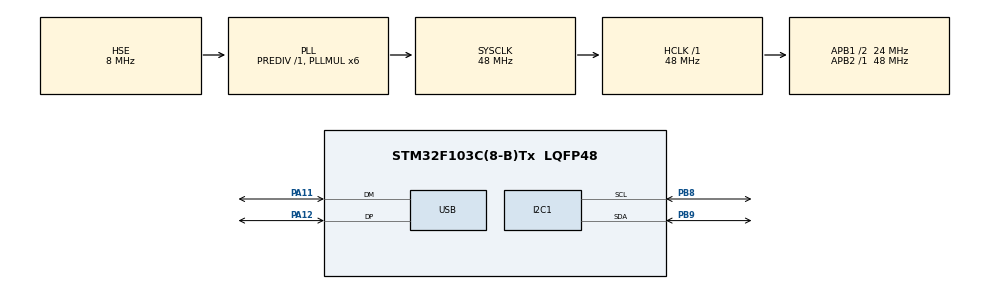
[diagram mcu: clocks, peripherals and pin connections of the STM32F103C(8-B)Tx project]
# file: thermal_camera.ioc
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I2C1.I2C_Mode=I2C_Fast
Mcu.Family=STM32F1
Mcu.Name=STM32F103C(8-B)Tx
Mcu.Package=LQFP48
NVIC.PriorityGroup=NVIC_PRIORITYGROUP_4
NVIC.USB_LP_CAN1_RX0_IRQn=true\:0\:0\:false\:false\:true\:false
PA11.Mode=Device
PA11.Signal=USB_DM
PA12.Mode=Device
PA12.Signal=USB_DP
PA13.Mode=Serial_Wire
PA13.Signal=SYS_JTMS-SWDIO
PA14.Mode=Serial_Wire
PA14.Signal=SYS_JTCK-SWCLK
PB8.Mode=I2C
PB8.Signal=I2C1_SCL
PB9.Mode=I2C
PB9.Signal=I2C1_SDA
PD0-OSC_IN.Mode=HSE-External-Oscillator
PD0-OSC_IN.Signal=RCC_OSC_IN
PD1-OSC_OUT.Mode=HSE-External-Oscillator
PD1-OSC_OUT.Signal=RCC_OSC_OUT
ProjectManager.HeapSize=0x300
ProjectManager.StackSize=0x500
ProjectManager.TargetToolchain=MDK-ARM V5
RCC.AHBFreq_Value=48000000
RCC.APB1CLKDivider=RCC_HCLK_DIV2
RCC.APB1Freq_Value=24000000
RCC.APB1TimFreq_Value=48000000
RCC.APB2Freq_Value=48000000
RCC.APB2TimFreq_Value=48000000
RCC.HCLKFreq_Value=48000000
RCC.PLLMUL=RCC_PLL_MUL6
RCC.SYSCLKFreq_VALUE=48000000
RCC.SYSCLKSource=RCC_SYSCLKSOURCE_PLLCLK
RCC.USBFreq_Value=48000000
USB_DEVICE.APP_RX_DATA_SIZE=512
USB_DEVICE.APP_TX_DATA_SIZE=512
USB_DEVICE.CLASS_NAME_FS=CDC
USB_DEVICE.MANUFACTURER_STRING=Anna's Thermal Camera
USB_DEVICE.PRODUCT_STRING_CDC_FS=Thermal Camera
USB_DEVICE.USBD_MAX_STR_DESC_SIZ=512
USB_DEVICE.VirtualMode=Cdc
USB_DEVICE.VirtualModeFS=Cdc_FS
VP_USB_DEVICE_VS_USB_DEVICE_CDC_FS.Mode=CDC_FS
board=custom

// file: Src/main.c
/**
  ******************************************************************************
  * @file           : main.c
  * @brief          : Main program body
  ******************************************************************************
  * This notice applies to any and all portions of this file
  * that are not between comment pairs USER CODE BEGIN and
  * USER CODE END. Other portions of this file, whether
  * inserted by the user or by software development tools
  * are owned by their respective copyright owners.
  *
  * Copyright (c) 2019 STMicroelectronics International N.V.
  * All rights reserved.
  *
  * Redistribution and use in source and binary forms, with or without
  * modification, are permitted, provided that the following conditions are met:
  *
  * 1. Redistribution of source code must retain the above copyright notice,
  *    this list of conditions and the following disclaimer.
  * 2. Redistributions in binary form must reproduce the above copyright notice,
  *    this list of conditions and the following disclaimer in the documentation
  *    and/or other materials provided with the distribution.
  * 3. Neither the name of STMicroelectronics nor the names of other
  *    contributors to this software may be used to endorse or promote products
  *    derived from this software without specific written permission.
  * 4. This software, including modifications and/or derivative works of this
  *    software, must execute solely and exclusively on microcontroller or
  *    microprocessor devices manufactured by or for STMicroelectronics.
  * 5. Redistribution and use of this software other than as permitted under
  *    this license is void and will automatically terminate your rights under
  *    this license.
  *
  * THIS SOFTWARE IS PROVIDED BY STMICROELECTRONICS AND CONTRIBUTORS "AS IS"
  * AND ANY EXPRESS, IMPLIED OR STATUTORY WARRANTIES, INCLUDING, BUT NOT
  * LIMITED TO, THE IMPLIED WARRANTIES OF MERCHANTABILITY, FITNESS FOR A
  * PARTICULAR PURPOSE AND NON-INFRINGEMENT OF THIRD PARTY INTELLECTUAL PROPERTY
  * RIGHTS ARE DISCLAIMED TO THE FULLEST EXTENT PERMITTED BY LAW. IN NO EVENT
  * SHALL STMICROELECTRONICS OR CONTRIBUTORS BE LIABLE FOR ANY DIRECT, INDIRECT,
  * INCIDENTAL, SPECIAL, EXEMPLARY, OR CONSEQUENTIAL DAMAGES (INCLUDING, BUT NOT
  * LIMITED TO, PROCUREMENT OF SUBSTITUTE GOODS OR SERVICES; LOSS OF USE, DATA,
  * OR PROFITS; OR BUSINESS INTERRUPTION) HOWEVER CAUSED AND ON ANY THEORY OF
  * LIABILITY, WHETHER IN CONTRACT, STRICT LIABILITY, OR TORT (INCLUDING
  * NEGLIGENCE OR OTHERWISE) ARISING IN ANY WAY OUT OF THE USE OF THIS SOFTWARE,
  * EVEN IF ADVISED OF THE POSSIBILITY OF SUCH DAMAGE.
  *
  ******************************************************************************
  */
#include "main.h"
#include "stm32f1xx_hal.h"
#include "usb_device.h"

/* USER CODE BEGIN Includes */
#include "MLX90640_I2C_Driver.h"
#include "MLX90640_API.h"
/* USER CODE END Includes */

/* USER CODE BEGIN PV */
/* Private variables ---------------------------------------------------------*/
#define I2C_ADDR 0x33u*2
#define TA_SHIFT 8
#define EE_WORDS_NUM 832u
#define TO_WORDS_NUM 768u
#define FR_WORDS_NUM 834u

uint16_t eeMLX90640[EE_WORDS_NUM];
uint16_t mlx90640FrameOne[FR_WORDS_NUM];
//uint16_t mlx90640FrameTwo[834];
float mlx90640ToOne[TO_WORDS_NUM];
//float mlx90640ToTwo[768];
paramsMLX90640 parMLX90640;

/* USER CODE END PV */

void SystemClock_Config(void);
static void MX_GPIO_Init(void);
static void MX_I2C1_Init(void);

/* USER CODE BEGIN PFP */
/* Private function prototypes -----------------------------------------------*/

/* USER CODE END PFP */

int main(void)
{

  /* MCU Configuration----------------------------------------------------------*/

  /* Reset of all peripherals, Initializes the Flash interface and the Systick. */
  HAL_Init();

  /* Configure the system clock */
  SystemClock_Config();

  /* Initialize all configured peripherals */
  MX_GPIO_Init();
  MX_I2C1_Init();
  MX_USB_DEVICE_Init();
  /* USER CODE BEGIN 2 */

  #if 0
  volatile int32_t status = 0;
  MLX90640_SetRefreshRate(I2C_ADDR, 0x00);

  status = MLX90640_DumpEE(I2C_ADDR, eeMLX90640);
	//convertBytesToWords(eeMLX90640, EE_WORDS_NUM);

  status = MLX90640_ExtractParameters(eeMLX90640, &parMLX90640);

	for (uint8_t i = 0u; i < 2u; i++){
		status = MLX90640_GetFrameData(I2C_ADDR, mlx90640FrameOne);
		//convertBytesToWords(mlx90640FrameOne, FR_WORDS_NUM);

		volatile float tr = MLX90640_GetTa(mlx90640FrameOne, &parMLX90640) - TA_SHIFT;
		MLX90640_CalculateTo(mlx90640FrameOne, &parMLX90640, 0.95, tr, mlx90640ToOne);
	}
  #endif
  volatile uint16_t databuffer[10u];

  databuffer[0] = MLX90640_I2CReadWord(I2C_ADDR, 0x2407u);
  databuffer[1] = MLX90640_I2CReadWord(I2C_ADDR, 0x2408u);
  databuffer[2] = MLX90640_I2CReadWord(I2C_ADDR, 0x2409u);

  //volatile int ret = I2C_ReadBurst(0x33u, 0x2407, &databuffer[0]);

  //ret = I2C_ReadBurst(0x33u, 0x2408, &databuffer[1]);

  //ret = I2C_ReadBurst(0x33u, 0x2409, &databuffer[2]);

  /* USER CODE END 2 */

  /* Infinite loop */
  while (1)
  {

  }

}

void SystemClock_Config(void)
{

  RCC_OscInitTypeDef RCC_OscInitStruct;
  RCC_ClkInitTypeDef RCC_ClkInitStruct;
  RCC_PeriphCLKInitTypeDef PeriphClkInit;

    /**Initializes the CPU, AHB and APB busses clocks
    */
  RCC_OscInitStruct.OscillatorType = RCC_OSCILLATORTYPE_HSE;
  RCC_OscInitStruct.HSEState = RCC_HSE_ON;
  RCC_OscInitStruct.HSEPredivValue = RCC_HSE_PREDIV_DIV1;
  RCC_OscInitStruct.HSIState = RCC_HSI_ON;
  RCC_OscInitStruct.PLL.PLLState = RCC_PLL_ON;
  RCC_OscInitStruct.PLL.PLLSource = RCC_PLLSOURCE_HSE;
  RCC_OscInitStruct.PLL.PLLMUL = RCC_PLL_MUL6;
  if (HAL_RCC_OscConfig(&RCC_OscInitStruct) != HAL_OK)
  {
    _Error_Handler(__FILE__, __LINE__);
  }

    /**Initializes the CPU, AHB and APB busses clocks
    */
  RCC_ClkInitStruct.ClockType = RCC_CLOCKTYPE_HCLK|RCC_CLOCKTYPE_SYSCLK
                              |RCC_CLOCKTYPE_PCLK1|RCC_CLOCKTYPE_PCLK2;
  RCC_ClkInitStruct.SYSCLKSource = RCC_SYSCLKSOURCE_PLLCLK;
  RCC_ClkInitStruct.AHBCLKDivider = RCC_SYSCLK_DIV1;
  RCC_ClkInitStruct.APB1CLKDivider = RCC_HCLK_DIV2;
  RCC_ClkInitStruct.APB2CLKDivider = RCC_HCLK_DIV1;

  if (HAL_RCC_ClockConfig(&RCC_ClkInitStruct, FLASH_LATENCY_1) != HAL_OK)
  {
    _Error_Handler(__FILE__, __LINE__);
  }

  PeriphClkInit.PeriphClockSelection = RCC_PERIPHCLK_USB;
  PeriphClkInit.UsbClockSelection = RCC_USBCLKSOURCE_PLL;
  if (HAL_RCCEx_PeriphCLKConfig(&PeriphClkInit) != HAL_OK)
  {
    _Error_Handler(__FILE__, __LINE__);
  }

    /**Configure the Systick interrupt time
    */
  HAL_SYSTICK_Config(HAL_RCC_GetHCLKFreq()/1000);

    /**Configure the Systick
    */
  HAL_SYSTICK_CLKSourceConfig(SYSTICK_CLKSOURCE_HCLK);

  /* SysTick_IRQn interrupt configuration */
  HAL_NVIC_SetPriority(SysTick_IRQn, 0, 0);
}

/* I2C1 init function */
static void MX_I2C1_Init(void)
{

  LL_I2C_InitTypeDef I2C_InitStruct;

  LL_GPIO_InitTypeDef GPIO_InitStruct;

  /**I2C1 GPIO Configuration
  PB8   ------> I2C1_SCL
  PB9   ------> I2C1_SDA
  */
  GPIO_InitStruct.Pin = LL_GPIO_PIN_8|LL_GPIO_PIN_9;
  GPIO_InitStruct.Mode = LL_GPIO_MODE_ALTERNATE;
  GPIO_InitStruct.Speed = LL_GPIO_SPEED_FREQ_HIGH;
  GPIO_InitStruct.OutputType = LL_GPIO_OUTPUT_OPENDRAIN;
  LL_GPIO_Init(GPIOB, &GPIO_InitStruct);

  LL_GPIO_AF_EnableRemap_I2C1();

  /* Peripheral clock enable */
  LL_APB1_GRP1_EnableClock(LL_APB1_GRP1_PERIPH_I2C1);

    /**I2C Initialization
    */
  LL_I2C_DisableOwnAddress2(I2C1);

  LL_I2C_DisableGeneralCall(I2C1);

  LL_I2C_EnableClockStretching(I2C1);

  I2C_InitStruct.PeripheralMode = LL_I2C_MODE_I2C;
  I2C_InitStruct.ClockSpeed = 400000;
  I2C_InitStruct.DutyCycle = LL_I2C_DUTYCYCLE_2;
  I2C_InitStruct.OwnAddress1 = 0;
  I2C_InitStruct.TypeAcknowledge = LL_I2C_ACK;
  I2C_InitStruct.OwnAddrSize = LL_I2C_OWNADDRESS1_7BIT;
  LL_I2C_Init(I2C1, &I2C_InitStruct);

  LL_I2C_SetOwnAddress2(I2C1, 0);

}

/** Configure pins as
        * Analog
        * Input
        * Output
        * EVENT_OUT
        * EXTI
*/
static void MX_GPIO_Init(void)
{

  /* GPIO Ports Clock Enable */
  __HAL_RCC_GPIOD_CLK_ENABLE();
  __HAL_RCC_GPIOA_CLK_ENABLE();
  __HAL_RCC_GPIOB_CLK_ENABLE();

}

void _Error_Handler(char *file, int line)
{
  while(1)
  {
  }
}

/************************ (C) COPYRIGHT STMicroelectronics *****END OF FILE****/
